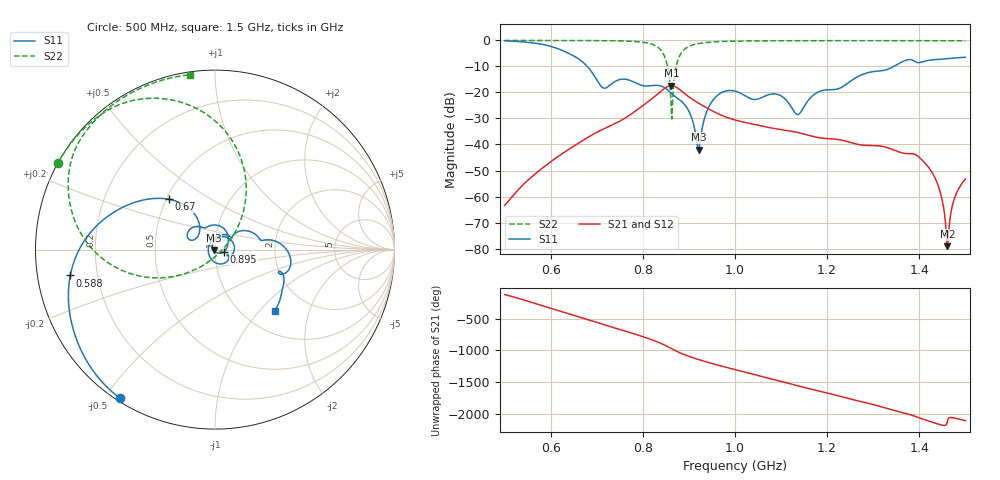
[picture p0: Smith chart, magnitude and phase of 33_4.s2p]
! TOUCHSTONE file generated by CST MICROWAVE STUDIO
! Date and time: Fri Oct  2 16:59:51 2020
! Project name: Scenario_1_Free_Space_out_of_line.cst
! Parameters = {Lambda=346.42; Step_1=17.321; dy1=-207.272; dx1=693; L_HA=400; MT=2.54; Rad_Dielectric=30; Rad_Lower=7.3; Rad_Upper=30; a_HA=580; a_WG=246; b_HA=500; b_WG=121; c_HA=0; c_WG=187; d_feed=85; h_feed=15; h_lower=18; h_upper=40}
! Header version: 2018
! Port assignment regex: !\s*Touchstone port\s*([0-9]+)\s*=\s*(CST MWS port|CST DS port)\s*([0-9]+|Zmin|Zmax)\s*\(\"(.*)\"\)(\s*mode\s*([0-9]+))?.*
! Touchstone port assignment:
! Touchstone port 1 = CST MWS port 1 ("")
! Touchstone port 2 = CST MWS port 2 ("")
# GHz S DB R 50
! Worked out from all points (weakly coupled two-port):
!   1003 points, 500 MHz to 1.5 GHz, reference 50 ohm
!   highest |S21| = -17.39 dB at 862 MHz (marker M1); lowest = -79.1 dB at 1.461 GHz (marker M2)
!   lowest |S11| = -41.9 dB at 921 MHz (marker M3), VSWR 1.02, Z = 49.3 - j0.382 ohm
!   |S11| at or under -10 dB: 679.4 MHz to 1.344 GHz (664.9 MHz wide, 65.7 % of centre)
!   |S22| runs from -30.2 to 0.0 dB; largest |S21 - S12| = 7e-05
!   S11 on the Smith chart (normalised r, x): 500 MHz: 0.01, -0.55; 588 MHz: 0.10, -0.09; 670 MHz: 0.51, +0.34; 895 MHz: 1.11, -0.03; 1.5 GHz: 1.38, -1.21
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0.5  -0.15 -122.5  -63.44 -122.0  -63.44 -122.0  -0.01 151.1
0.588  -1.73 -169.9  -48.26 49.3  -48.26 49.3  -0.02 145.0
0.667  -7.94 134.9  -38.75 -126.6  -38.75 -126.6  -0.04 138.4
0.67  -8.38 132.6  -38.42 -133.4  -38.42 -133.4  -0.04 138.1
0.715  -18.32 140.9  -34.03 124.0  -34.03 124.0  -0.09 133.0
0.834  -17.31 85.5  -20.28 -154.7  -20.28 -154.7  -2.80 90.7
0.85  -18.46 58.2  -18.08 152.7  -18.08 152.7  -7.55 65.8
0.862  -20.33 39.3  -17.39 107.0  -17.39 107.0  -27.87 -2.1
0.876  -22.36 21.2  -18.39 55.0  -18.39 55.0  -7.58 -158.6
0.895  -25.70 -12.6  -21.02 -1.9  -21.02 -1.9  -2.77 175.6
0.921  -41.94 -151.0  -24.14 -65.0  -24.14 -65.0  -1.21 159.5
0.95  -23.47 77.1  -27.01 -127.5  -27.01 -127.5  -0.62 150.2
1  -19.48 -4.5  -30.57 137.2  -30.57 137.2  -0.27 140.8
1.095  -20.88 -60.1  -34.13 -39.6  -34.13 -39.6  -0.13 130.4
1.136  -28.51 174.8  -35.37 -117.9  -35.37 -117.9  -0.11 126.9
1.167  -21.49 72.1  -36.84 -174.8  -36.85 -174.8  -0.10 124.4
1.334  -10.89 10.9  -41.41 -124.0  -41.41 -124.0  -0.09 111.7
1.423  -7.56 -23.3  -49.46 40.3  -49.45 40.1  -0.11 104.7
1.445  -7.23 -30.2  -58.07 -10.0  -58.14 -10.6  -0.12 102.9
1.461  -6.99 -34.4  -79.08 38.6  -79.02 37.8  -0.12 101.5
1.477  -6.73 -38.8  -60.33 93.2  -60.43 92.9  -0.13 100.2
1.5  -6.47 -45.7  -53.24 53.2  -52.98 52.6  -0.14 98.2
